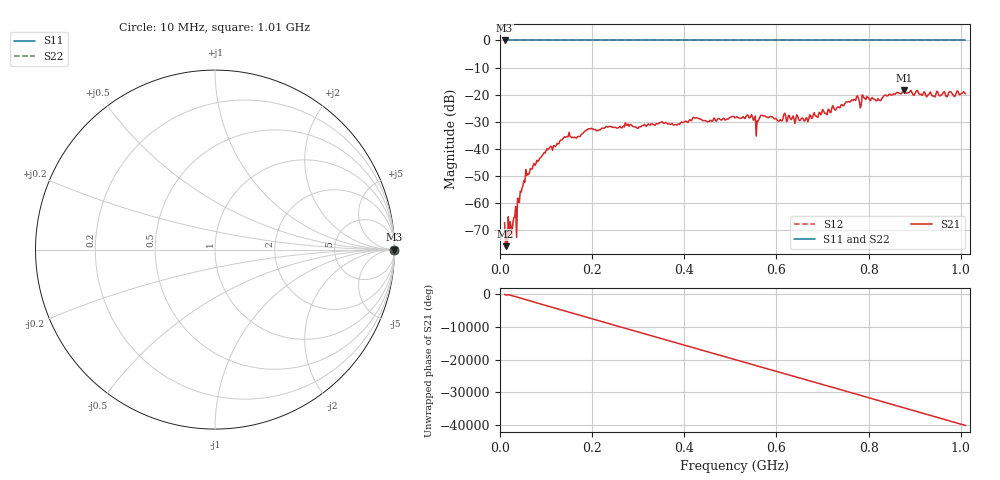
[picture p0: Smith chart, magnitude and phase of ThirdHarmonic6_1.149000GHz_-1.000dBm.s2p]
! 8/16/2025 11:23:27 AM
! C:\ANRITSUVNA\TEMP\TEMP.S2P
! CHANNEL.1
! TR.MEASUREMENT
! RAW.DATA
! RF.CORRECTION.OFF
! AVERAGING.OFF
! IF.BANDWIDTH: 5KHZ
! SWEEPTYPE:  FREQ.SWEEP(Linear)
! Reference Plane Port Info
! PORT:  PORT1  PORT2
! DISTANCE:  0  m  0  m
! TIME:  0  s  0  s
! PHASE.OFFSET:  0  deg.  0  deg.
! LOSS:  0  dB  0  dB
! REF.LOSS:  0  dB  0  dB
! REF.FREQ:  0  Hz  0  Hz
! Power Info
! POWER:  -20  dBm  -20  dBm
! EFF.POWER:  -20  dBm  -20  dBm
! SOURCE.ATTEN:  0  dB  0  dB
! TEST.ATTEN:  0  dB  0  dB
# GHZ S RI R 50.0
! FREQ.GHZ  S11RE  S11IM  S21RE  S21IM  S12RE  S12IM  S22RE  S22IM
!; PortSelection: Port_12
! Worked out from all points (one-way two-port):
!   501 points, 10 MHz to 1.01 GHz, reference 50 ohm
!   highest |S21| = -18.44 dB at 876 MHz (marker M1); lowest = -76.1 dB at 12 MHz (marker M2)
!   lowest |S11| = 0.0 dB at 10 MHz (marker M3)
!   |S11| at or under -10 dB: nowhere
!   |S22| runs from 0.0 to 0.0 dB; largest |S21 - S12| = 1.1
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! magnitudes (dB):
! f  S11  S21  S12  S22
! 10 MHz  0.0  -67.4  0.0  0.0
! 12 MHz  0.0  -76.1  0.0  0.0
! 32 MHz  0.0  -65.2  0.0  0.0
! 40 MHz  0.0  -58.6  0.0  0.0
! 42 MHz  0.0  -60.0  0.0  0.0
! 52 MHz  0.0  -51.8  0.0  0.0
! 70 MHz  0.0  -47.5  0.0  0.0
! 136 MHz  0.0  -36.5  0.0  0.0
! 178 MHz  0.0  -34.5  0.0  0.0
! 196 MHz  0.0  -32.7  0.0  0.0
! 344 MHz  0.0  -30.8  0.0  0.0
! 510 MHz  0.0  -28.6  0.0  0.0
! 542 MHz  0.0  -28.7  0.0  0.0
! 560 MHz  0.0  -29.9  0.0  0.0
! 570 MHz  0.0  -27.9  0.0  0.0
! 608 MHz  0.0  -29.2  0.0  0.0
! 678 MHz  0.0  -28.6  0.0  0.0
! 772 MHz  0.0  -22.2  0.0  0.0
! 822 MHz  0.0  -21.9  0.0  0.0
! 844 MHz  0.0  -19.9  0.0  0.0
! 876 MHz  0.0  -18.4  0.0  0.0
! 1.01 GHz  0.0  -19.7  0.0  0.0
